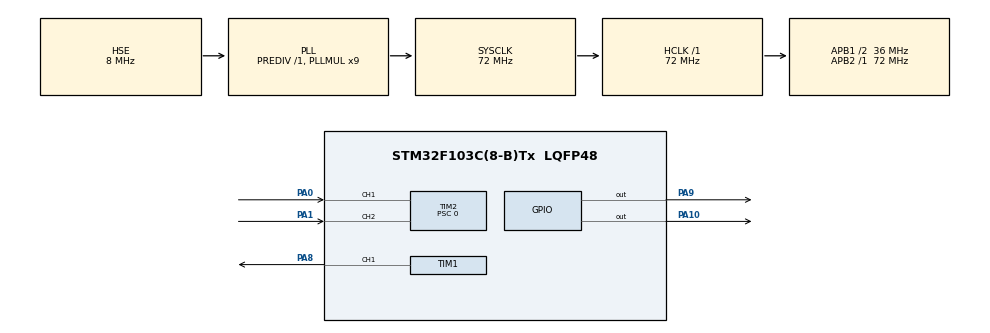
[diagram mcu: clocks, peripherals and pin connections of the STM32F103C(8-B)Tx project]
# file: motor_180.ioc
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Mcu.Family=STM32F1
Mcu.Name=STM32F103C(8-B)Tx
Mcu.Package=LQFP48
NVIC.PriorityGroup=NVIC_PRIORITYGROUP_4
NVIC.TIM2_IRQn=true\:0\:0\:false\:false\:true\:true\:true\:true
PA0-WKUP.Signal=S_TIM2_CH1_ETR
PA1.Signal=S_TIM2_CH2
PA10.Signal=GPIO_Output
PA13.Mode=Serial_Wire
PA13.Signal=SYS_JTMS-SWDIO
PA14.Mode=Serial_Wire
PA14.Signal=SYS_JTCK-SWCLK
PA8.Signal=S_TIM1_CH1
PA9.Signal=GPIO_Output
PD0-OSC_IN.Mode=HSE-External-Oscillator
PD0-OSC_IN.Signal=RCC_OSC_IN
PD1-OSC_OUT.Mode=HSE-External-Oscillator
PD1-OSC_OUT.Signal=RCC_OSC_OUT
ProjectManager.HeapSize=0x200
ProjectManager.StackSize=0x400
ProjectManager.TargetToolchain=STM32CubeIDE
RCC.AHBFreq_Value=72000000
RCC.APB1CLKDivider=RCC_HCLK_DIV2
RCC.APB1Freq_Value=36000000
RCC.APB1TimFreq_Value=72000000
RCC.APB2Freq_Value=72000000
RCC.APB2TimFreq_Value=72000000
RCC.HCLKFreq_Value=72000000
RCC.PLLMUL=RCC_PLL_MUL9
RCC.PLLSourceVirtual=RCC_PLLSOURCE_HSE
RCC.SYSCLKFreq_VALUE=72000000
RCC.SYSCLKSource=RCC_SYSCLKSOURCE_PLLCLK
RCC.USBFreq_Value=72000000
SH.S_TIM1_CH1.0=TIM1_CH1,PWM Generation1 CH1
SH.S_TIM2_CH1_ETR.0=TIM2_CH1,Encoder_Interface
SH.S_TIM2_CH2.0=TIM2_CH2,Encoder_Interface
TIM1.AutoReloadPreload=TIM_AUTORELOAD_PRELOAD_ENABLE
TIM1.Channel-PWM\ Generation1\ CH1=TIM_CHANNEL_1
TIM2.AutoReloadPreload=TIM_AUTORELOAD_PRELOAD_ENABLE
TIM2.EncoderMode=TIM_ENCODERMODE_TI12
TIM2.IC1Filter=1
TIM2.IC1Polarity=TIM_ICPOLARITY_FALLING
TIM2.IC2Polarity=TIM_ICPOLARITY_FALLING
TIM2.Prescaler=0
VP_TIM1_VS_ClockSourceINT.Mode=Internal
board=custom

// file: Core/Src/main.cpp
/* USER CODE BEGIN Header */
/**
  ******************************************************************************
  * @file           : main.c
  * @brief          : Main program body
  ******************************************************************************
  * @attention
  *
  * Copyright (c) 2024 STMicroelectronics.
  * All rights reserved.
  *
  * This software is licensed under terms that can be found in the LICENSE file
  * in the root directory of this software component.
  * If no LICENSE file comes with this software, it is provided AS-IS.
  *
  ******************************************************************************
  */
/* USER CODE END Header */
#include "main.h"

/* USER CODE BEGIN Includes */
#include "Motor.h"

/* USER CODE END Includes */

TIM_HandleTypeDef htim1;
TIM_HandleTypeDef htim2;

/* USER CODE BEGIN PV */
//MOTOR MotorA(GPIOA,GPIO_PIN_9,GPIOA, GPIO_PIN_10);
//MotorA.motor_init(&htim2, TIM_CHANNEL_1);
/* USER CODE END PV */

void SystemClock_Config(void);
static void MX_GPIO_Init(void);
static void MX_TIM1_Init(void);
static void MX_TIM2_Init(void);

/* USER CODE BEGIN 0 */
int32_t counter =0;
uint32_t encoder_count = 0;
int16_t count =0;
//int16_t position;
//int32_t speed=0;
//uint32_t last_encoder_count = 0;

/* USER CODE END 0 */

int main(void)
{

  /* MCU Configuration--------------------------------------------------------*/

  /* Reset of all peripherals, Initializes the Flash interface and the Systick. */
  HAL_Init();

  /* Configure the system clock */
  SystemClock_Config();

  /* Initialize all configured peripherals */
  MX_GPIO_Init();
  MX_TIM1_Init();
  MX_TIM2_Init();
  /* USER CODE BEGIN 2 */
  /* USER CODE BEGIN 2 */
  HAL_TIM_Encoder_Start(&htim2, TIM_CHANNEL_ALL);
  MOTOR MotorA(GPIOA,GPIO_PIN_9,GPIOA, GPIO_PIN_10);
  MotorA.motor_init(&htim1, TIM_CHANNEL_1);

  /* USER CODE END 2 */

  /* Infinite loop */
  /* USER CODE BEGIN WHILE */
  while (1)
  {

	  count = (TIM2->CNT);
	  HAL_TIM_IC_CaptureCallback(&htim2);
	  HAL_Delay(1);

	  if(count > 25){
		  MotorA.clockwise(3535);
	  }
	  if(count < 25){
		  MotorA.anti_clockwise(3535);
	  }
	  if(count == 25){

		  MotorA.brake();
	  }

  }

	  //uint32_t encoder_count = __HAL_TIM_GET_COUNTER(&htim2);
	  //speed = encoder_count - last_encoder_count;

	  /*if (__HAL_TIM_IS_TIM_COUNTING_DOWN(&htim2))
	         {
	             position -= speed;  // Moving in reverse
	         }
	         else
	         {
	             position += speed;  // Moving forward
	         }

	  last_encoder_count = encoder_count;
*/
    /* USER CODE END WHILE */

}

void SystemClock_Config(void)
{
  RCC_OscInitTypeDef RCC_OscInitStruct = {0};
  RCC_ClkInitTypeDef RCC_ClkInitStruct = {0};

  /** Initializes the RCC Oscillators according to the specified parameters
  * in the RCC_OscInitTypeDef structure.
  */
  RCC_OscInitStruct.OscillatorType = RCC_OSCILLATORTYPE_HSE;
  RCC_OscInitStruct.HSEState = RCC_HSE_ON;
  RCC_OscInitStruct.HSEPredivValue = RCC_HSE_PREDIV_DIV1;
  RCC_OscInitStruct.HSIState = RCC_HSI_ON;
  RCC_OscInitStruct.PLL.PLLState = RCC_PLL_ON;
  RCC_OscInitStruct.PLL.PLLSource = RCC_PLLSOURCE_HSE;
  RCC_OscInitStruct.PLL.PLLMUL = RCC_PLL_MUL9;
  if (HAL_RCC_OscConfig(&RCC_OscInitStruct) != HAL_OK)
  {
    Error_Handler();
  }

  /** Initializes the CPU, AHB and APB buses clocks
  */
  RCC_ClkInitStruct.ClockType = RCC_CLOCKTYPE_HCLK|RCC_CLOCKTYPE_SYSCLK
                              |RCC_CLOCKTYPE_PCLK1|RCC_CLOCKTYPE_PCLK2;
  RCC_ClkInitStruct.SYSCLKSource = RCC_SYSCLKSOURCE_PLLCLK;
  RCC_ClkInitStruct.AHBCLKDivider = RCC_SYSCLK_DIV1;
  RCC_ClkInitStruct.APB1CLKDivider = RCC_HCLK_DIV2;
  RCC_ClkInitStruct.APB2CLKDivider = RCC_HCLK_DIV1;

  if (HAL_RCC_ClockConfig(&RCC_ClkInitStruct, FLASH_LATENCY_2) != HAL_OK)
  {
    Error_Handler();
  }
}

static void MX_TIM1_Init(void)
{

  TIM_ClockConfigTypeDef sClockSourceConfig = {0};
  TIM_MasterConfigTypeDef sMasterConfig = {0};
  TIM_OC_InitTypeDef sConfigOC = {0};
  TIM_BreakDeadTimeConfigTypeDef sBreakDeadTimeConfig = {0};

  htim1.Instance = TIM1;
  htim1.Init.Prescaler = 0;
  htim1.Init.CounterMode = TIM_COUNTERMODE_UP;
  htim1.Init.Period = 65535;
  htim1.Init.ClockDivision = TIM_CLOCKDIVISION_DIV1;
  htim1.Init.RepetitionCounter = 0;
  htim1.Init.AutoReloadPreload = TIM_AUTORELOAD_PRELOAD_ENABLE;
  if (HAL_TIM_Base_Init(&htim1) != HAL_OK)
  {
    Error_Handler();
  }
  sClockSourceConfig.ClockSource = TIM_CLOCKSOURCE_INTERNAL;
  if (HAL_TIM_ConfigClockSource(&htim1, &sClockSourceConfig) != HAL_OK)
  {
    Error_Handler();
  }
  if (HAL_TIM_PWM_Init(&htim1) != HAL_OK)
  {
    Error_Handler();
  }
  sMasterConfig.MasterOutputTrigger = TIM_TRGO_RESET;
  sMasterConfig.MasterSlaveMode = TIM_MASTERSLAVEMODE_DISABLE;
  if (HAL_TIMEx_MasterConfigSynchronization(&htim1, &sMasterConfig) != HAL_OK)
  {
    Error_Handler();
  }
  sConfigOC.OCMode = TIM_OCMODE_PWM1;
  sConfigOC.Pulse = 0;
  sConfigOC.OCPolarity = TIM_OCPOLARITY_HIGH;
  sConfigOC.OCNPolarity = TIM_OCNPOLARITY_HIGH;
  sConfigOC.OCFastMode = TIM_OCFAST_DISABLE;
  sConfigOC.OCIdleState = TIM_OCIDLESTATE_RESET;
  sConfigOC.OCNIdleState = TIM_OCNIDLESTATE_RESET;
  if (HAL_TIM_PWM_ConfigChannel(&htim1, &sConfigOC, TIM_CHANNEL_1) != HAL_OK)
  {
    Error_Handler();
  }
  sBreakDeadTimeConfig.OffStateRunMode = TIM_OSSR_DISABLE;
  sBreakDeadTimeConfig.OffStateIDLEMode = TIM_OSSI_DISABLE;
  sBreakDeadTimeConfig.LockLevel = TIM_LOCKLEVEL_OFF;
  sBreakDeadTimeConfig.DeadTime = 0;
  sBreakDeadTimeConfig.BreakState = TIM_BREAK_DISABLE;
  sBreakDeadTimeConfig.BreakPolarity = TIM_BREAKPOLARITY_HIGH;
  sBreakDeadTimeConfig.AutomaticOutput = TIM_AUTOMATICOUTPUT_DISABLE;
  if (HAL_TIMEx_ConfigBreakDeadTime(&htim1, &sBreakDeadTimeConfig) != HAL_OK)
  {
    Error_Handler();
  }
  HAL_TIM_MspPostInit(&htim1);

}

static void MX_TIM2_Init(void)
{

  TIM_Encoder_InitTypeDef sConfig = {0};
  TIM_MasterConfigTypeDef sMasterConfig = {0};

  htim2.Instance = TIM2;
  htim2.Init.Prescaler = 0;
  htim2.Init.CounterMode = TIM_COUNTERMODE_UP;
  htim2.Init.Period = 65535;
  htim2.Init.ClockDivision = TIM_CLOCKDIVISION_DIV1;
  htim2.Init.AutoReloadPreload = TIM_AUTORELOAD_PRELOAD_ENABLE;
  sConfig.EncoderMode = TIM_ENCODERMODE_TI12;
  sConfig.IC1Polarity = TIM_ICPOLARITY_FALLING;
  sConfig.IC1Selection = TIM_ICSELECTION_DIRECTTI;
  sConfig.IC1Prescaler = TIM_ICPSC_DIV1;
  sConfig.IC1Filter = 1;
  sConfig.IC2Polarity = TIM_ICPOLARITY_FALLING;
  sConfig.IC2Selection = TIM_ICSELECTION_DIRECTTI;
  sConfig.IC2Prescaler = TIM_ICPSC_DIV1;
  sConfig.IC2Filter = 0;
  if (HAL_TIM_Encoder_Init(&htim2, &sConfig) != HAL_OK)
  {
    Error_Handler();
  }
  sMasterConfig.MasterOutputTrigger = TIM_TRGO_RESET;
  sMasterConfig.MasterSlaveMode = TIM_MASTERSLAVEMODE_DISABLE;
  if (HAL_TIMEx_MasterConfigSynchronization(&htim2, &sMasterConfig) != HAL_OK)
  {
    Error_Handler();
  }

}

static void MX_GPIO_Init(void)
{
  GPIO_InitTypeDef GPIO_InitStruct = {0};

  /* GPIO Ports Clock Enable */
  __HAL_RCC_GPIOD_CLK_ENABLE();
  __HAL_RCC_GPIOA_CLK_ENABLE();

  /*Configure GPIO pin Output Level */
  HAL_GPIO_WritePin(GPIOA, GPIO_PIN_9|GPIO_PIN_10, GPIO_PIN_RESET);

  /*Configure GPIO pins : PA9 PA10 */
  GPIO_InitStruct.Pin = GPIO_PIN_9|GPIO_PIN_10;
  GPIO_InitStruct.Mode = GPIO_MODE_OUTPUT_PP;
  GPIO_InitStruct.Pull = GPIO_NOPULL;
  GPIO_InitStruct.Speed = GPIO_SPEED_FREQ_LOW;
  HAL_GPIO_Init(GPIOA, &GPIO_InitStruct);

}

void Error_Handler(void)
{
  __disable_irq();
  while (1)
  {
  }
}
